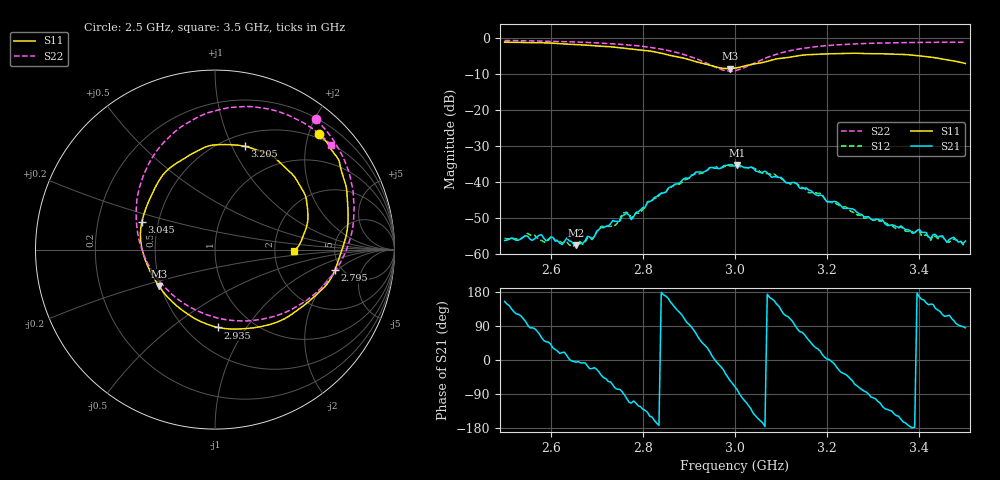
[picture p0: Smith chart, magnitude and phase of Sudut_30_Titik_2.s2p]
# Hz S RI R 50
! CMT, C1220, 16058040, 17.2.0/1
! Date: 15/08/2018 10:48:00
! Data: Format (Calibration Info)
! Freq  S11: Re/Im (F2)  S21: Re/Im (F2)  S12: Re/Im (F2)  S22: Re/Im (F2)
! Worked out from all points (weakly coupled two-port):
!   201 points, 2.5 GHz to 3.5 GHz, reference 50 ohm
!   highest |S21| = -35.35 dB at 3.005 GHz (marker M1); lowest = -57.6 dB at 2.655 GHz (marker M2)
!   lowest |S11| = -8.6 dB at 2.99 GHz (marker M3), VSWR 2.19, Z = 24.4 - j11.5 ohm
!   |S11| at or under -10 dB: nowhere
!   |S22| runs from -9.2 to -0.7 dB; largest |S21 - S12| = 0.0011
!   S11 on the Smith chart (normalised r, x): 2.5 GHz: 0.41, +2.18; 2.795 GHz: 4.40, -1.85; 2.935 GHz: 0.70, -0.75; 3.045 GHz: 0.40, +0.15; 3.205 GHz: 0.63, +1.12; 3.5 GHz: 2.57, -0.07
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2.5e9  0.5816 0.6458  -0.00138 0.000646  -0.00149 0.000703  0.5632 0.7252
2.55e9  0.6378 0.572  -7.69e-05 0.00174  -0.000236 0.00191  0.6192 0.6643
2.58e9  0.6802 0.5142  0.000941 0.00158  0.000833 0.00128  0.6518 0.6215
2.655e9  0.7332 0.3361  0.00131 -0.000131  0.00138 3.42e-05  0.7252 0.4873
2.67e9  0.7358 0.3049  0.00138 -0.000181  0.00131 -0.000302  0.7382 0.4545
2.71e9  0.7416 0.1822  0.00177 -0.00152  0.00188 -0.0015  0.7642 0.3559
2.74e9  0.7338 0.0914  0.000752 -0.0027  0.000858 -0.00232  0.7727 0.2734
2.755e9  0.7195 0.0366  0.000375 -0.00333  0.000618 -0.00354  0.775 0.2284
2.775e9  0.6969 -0.0307  -0.00119 -0.00272  -0.00131 -0.00282  0.7719 0.1616
2.795e9  0.6684 -0.1135  -0.00223 -0.00339  -0.00204 -0.00316  0.7612 0.0907
2.835e9  0.5689 -0.2477  -0.00657 -0.000847  -0.00632 -0.001  0.7016 -0.0665
2.885e9  0.3377 -0.4068  -0.00498 0.00917  -0.00462 0.00869  0.5345 -0.2639
2.935e9  0.0151 -0.4335  0.0109 0.00865  0.0106 0.00911  0.225 -0.393
2.99e9  -0.3124 -0.203  0.00936 -0.0136  0.01 -0.0141  -0.2098 -0.2749
3e9  -0.3518 -0.1407  0.00548 -0.0156  0.00468 -0.0158  -0.2753 -0.2141
3.005e9  -0.3682 -0.1063  0.00326 -0.0168  0.00253 -0.0163  -0.305 -0.1814
3.045e9  -0.4076 0.1542  -0.0119 -0.00749  -0.0125 -0.00814  -0.4359 0.1305
3.1e9  -0.2519 0.4545  -0.00771 0.00849  -0.00709 0.00857  -0.3541 0.5058
3.17e9  0.0337 0.5851  0.00551 0.0043  0.00524 0.00479  -0.0898 0.7409
3.205e9  0.1663 0.5752  0.00526 8.91e-05  0.00527 -0.000279  0.0381 0.7828
3.335e9  0.4658 0.3695  -0.00167 -0.00181  -0.00174 -0.00169  0.3918 0.7553
3.5e9  0.4394 -0.0106  0.000134 0.00149  0.000182 0.00136  0.6445 0.5845
